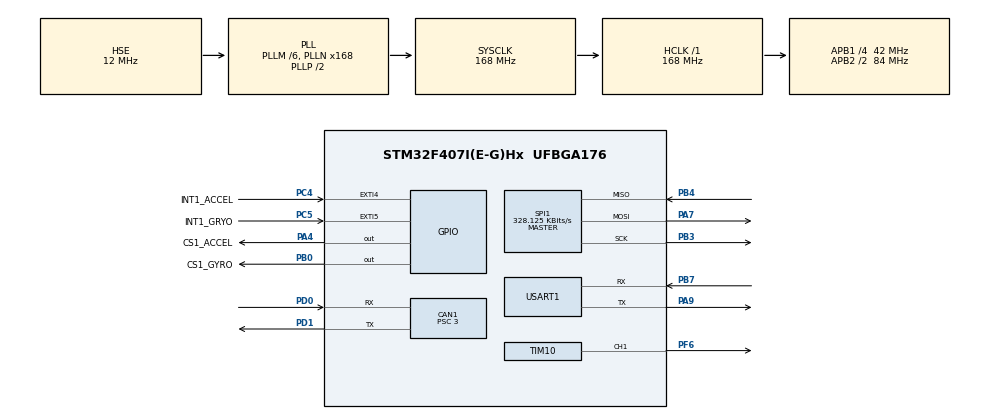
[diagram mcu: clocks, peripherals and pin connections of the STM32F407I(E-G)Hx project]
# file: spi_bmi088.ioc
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CAN1.ABOM=ENABLE
CAN1.BS1=CAN_BS1_9TQ
CAN1.BS2=CAN_BS2_4TQ
CAN1.CalculateTimeQuantum=71.42857142857143
CAN1.Prescaler=3
Dma.Request0=SPI1_RX
Dma.Request1=SPI1_TX
Dma.SPI1_RX.0.Direction=DMA_PERIPH_TO_MEMORY
Dma.SPI1_RX.0.FIFOMode=DMA_FIFOMODE_DISABLE
Dma.SPI1_RX.0.Instance=DMA2_Stream2
Dma.SPI1_RX.0.MemDataAlignment=DMA_MDATAALIGN_BYTE
Dma.SPI1_RX.0.MemInc=DMA_MINC_ENABLE
Dma.SPI1_RX.0.Mode=DMA_NORMAL
Dma.SPI1_RX.0.PeriphDataAlignment=DMA_PDATAALIGN_BYTE
Dma.SPI1_RX.0.PeriphInc=DMA_PINC_DISABLE
Dma.SPI1_RX.0.Priority=DMA_PRIORITY_VERY_HIGH
Dma.SPI1_TX.1.Direction=DMA_MEMORY_TO_PERIPH
Dma.SPI1_TX.1.FIFOMode=DMA_FIFOMODE_DISABLE
Dma.SPI1_TX.1.Instance=DMA2_Stream3
Dma.SPI1_TX.1.MemDataAlignment=DMA_MDATAALIGN_BYTE
Dma.SPI1_TX.1.MemInc=DMA_MINC_ENABLE
Dma.SPI1_TX.1.Mode=DMA_NORMAL
Dma.SPI1_TX.1.PeriphDataAlignment=DMA_PDATAALIGN_BYTE
Dma.SPI1_TX.1.PeriphInc=DMA_PINC_DISABLE
Dma.SPI1_TX.1.Priority=DMA_PRIORITY_HIGH
FREERTOS.Tasks01=defaultTask,0,128,StartDefaultTask,Default,NULL,Dynamic,NULL,NULL
Mcu.Family=STM32F4
Mcu.Name=STM32F407I(E-G)Hx
Mcu.Package=UFBGA176
NVIC.CAN1_RX0_IRQn=true\:5\:0\:false\:false\:true\:true\:true\:true\:true
NVIC.CAN1_TX_IRQn=true\:5\:0\:false\:false\:true\:true\:true\:true\:true
NVIC.DMA2_Stream2_IRQn=true\:5\:0\:true\:false\:false\:true\:false\:true\:true
NVIC.DMA2_Stream3_IRQn=true\:5\:0\:false\:false\:false\:true\:false\:true\:true
NVIC.EXTI4_IRQn=true\:5\:0\:false\:false\:true\:true\:true\:true\:true
NVIC.EXTI9_5_IRQn=true\:5\:0\:false\:false\:true\:true\:true\:true\:true
NVIC.PriorityGroup=NVIC_PRIORITYGROUP_4
NVIC.TIM6_DAC_IRQn=true\:0\:0\:false\:false\:true\:false\:false\:true\:true
NVIC.TimeBase=TIM6_DAC_IRQn
NVIC.TimeBaseIP=TIM6
NVIC.USART1_IRQn=true\:5\:0\:false\:false\:true\:true\:true\:true\:true
PA13.Mode=Serial_Wire
PA13.Signal=SYS_JTMS-SWDIO
PA14.Mode=Serial_Wire
PA14.Signal=SYS_JTCK-SWCLK
PA4.GPIO_Label=CS1_ACCEL
PA4.GPIO_PuPd=GPIO_PULLUP
PA4.GPIO_Speed=GPIO_SPEED_FREQ_HIGH
PA4.PinState=GPIO_PIN_SET
PA4.Signal=GPIO_Output
PA7.Mode=Full_Duplex_Master
PA7.Signal=SPI1_MOSI
PA9.Mode=Asynchronous
PA9.Signal=USART1_TX
PB0.GPIO_Label=CS1_GYRO
PB0.GPIO_PuPd=GPIO_PULLUP
PB0.GPIO_Speed=GPIO_SPEED_FREQ_HIGH
PB0.PinState=GPIO_PIN_SET
PB0.Signal=GPIO_Output
PB3.Mode=Full_Duplex_Master
PB3.Signal=SPI1_SCK
PB4.Mode=Full_Duplex_Master
PB4.Signal=SPI1_MISO
PB7.Mode=Asynchronous
PB7.Signal=USART1_RX
PC4.GPIO_Label=INT1_ACCEL
PC4.GPIO_ModeDefaultEXTI=GPIO_MODE_IT_FALLING
PC4.GPIO_PuPd=GPIO_PULLUP
PC4.Signal=GPXTI4
PC5.GPIO_Label=INT1_GRYO
PC5.GPIO_ModeDefaultEXTI=GPIO_MODE_IT_FALLING
PC5.GPIO_PuPd=GPIO_PULLUP
PC5.Signal=GPXTI5
PD0.Mode=Master
PD0.Signal=CAN1_RX
PD1.Mode=Master
PD1.Signal=CAN1_TX
PF6.GPIO_PuPd=GPIO_PULLUP
PF6.GPIO_Speed=GPIO_SPEED_FREQ_HIGH
PF6.Signal=S_TIM10_CH1
PH0-OSC_IN.Mode=HSE-External-Oscillator
PH0-OSC_IN.Signal=RCC_OSC_IN
PH1-OSC_OUT.Mode=HSE-External-Oscillator
PH1-OSC_OUT.Signal=RCC_OSC_OUT
ProjectManager.HeapSize=0x2000
ProjectManager.StackSize=0x2000
ProjectManager.TargetToolchain=MDK-ARM V5
RCC.48MHZClocksFreq_Value=48000000
RCC.AHBFreq_Value=168000000
RCC.APB1CLKDivider=RCC_HCLK_DIV4
RCC.APB1Freq_Value=42000000
RCC.APB1TimFreq_Value=84000000
RCC.APB2CLKDivider=RCC_HCLK_DIV2
RCC.APB2Freq_Value=84000000
RCC.APB2TimFreq_Value=168000000
RCC.CortexFreq_Value=168000000
RCC.HCLKFreq_Value=168000000
RCC.HSE_VALUE=12000000
RCC.HSI_VALUE=16000000
RCC.LSE_VALUE=32768
RCC.PLLM=6
RCC.PLLN=168
RCC.PLLQ=7
RCC.PLLSourceVirtual=RCC_PLLSOURCE_HSE
RCC.RCC_RTC_Clock_SourceVirtual=RCC_RTCCLKSOURCE_HSE_DIV30
RCC.RCC_RTC_Clock_Source_FROM_HSE=RCC_RTCCLKSOURCE_HSE_DIV30
RCC.SYSCLKFreq_VALUE=168000000
RCC.SYSCLKSource=RCC_SYSCLKSOURCE_PLLCLK
RCC.VCOOutputFreq_Value=336000000
SH.S_TIM10_CH1.0=TIM10_CH1,PWM Generation1 CH1
SPI1.BaudRatePrescaler=SPI_BAUDRATEPRESCALER_256
SPI1.CLKPhase=SPI_PHASE_2EDGE
SPI1.CLKPolarity=SPI_POLARITY_HIGH
SPI1.CalculateBaudRate=328.125 KBits/s
SPI1.Direction=SPI_DIRECTION_2LINES
SPI1.Mode=SPI_MODE_MASTER
SPI1.VirtualType=VM_MASTER
TIM10.Channel=TIM_CHANNEL_1
TIM10.Period=4999
USART1.VirtualMode=VM_ASYNC
VP_FREERTOS_VS_CMSIS_V1.Mode=CMSIS_V1
VP_SYS_VS_tim6.Mode=TIM6
VP_TIM10_VS_ClockSourceINT.Mode=Enable_Timer
board=custom

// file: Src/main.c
/* USER CODE BEGIN Header */
/**
  ******************************************************************************
  * @file           : main.c
  * @brief          : Main program body
  ******************************************************************************
  * @attention
  *
  * <h2><center>&copy; Copyright (c) 2019 STMicroelectronics.
  * All rights reserved.</center></h2>
  *
  * This software component is licensed by ST under Ultimate Liberty license
  * SLA0044, the "License"; You may not use this file except in compliance with
  * the License. You may obtain a copy of the License at:
  *                             www.st.com/SLA0044
  *
  ******************************************************************************
  */
/* USER CODE END Header */

#include "main.h"
#include "cmsis_os.h"
#include "can.h"
#include "dma.h"
#include "spi.h"
#include "tim.h"
#include "usart.h"
#include "gpio.h"

/* USER CODE BEGIN Includes */
#include "BMI088driver.h"
#include "bsp_can.h"
#include "pid.h"
/* USER CODE END Includes */

void SystemClock_Config(void);
void MX_FREERTOS_Init(void);

/* USER CODE BEGIN 0 */
//fp32 gyro[3], accel[3], temp;
uint16_t i;

//pid_struct_t motor_pid[7];
/* USER CODE END 0 */

int main(void)
{

  /* MCU Configuration--------------------------------------------------------*/

  /* Reset of all peripherals, Initializes the Flash interface and the Systick. */
  HAL_Init();

  /* Configure the system clock */
  SystemClock_Config();

  /* Initialize all configured peripherals */
  MX_GPIO_Init();
  MX_DMA_Init();
  MX_SPI1_Init();
  MX_TIM10_Init();
  MX_USART1_UART_Init();
  MX_CAN1_Init();
  /* USER CODE BEGIN 2 */
  can_user_init(&hcan1);                   // config can filter, start can

  /* USER CODE END 2 */

  /* Call init function for freertos objects (in freertos.c) */
  MX_FREERTOS_Init();

  /* Start scheduler */
  osKernelStart();

  /* We should never get here as control is now taken by the scheduler */

  /* Infinite loop */
  while (1)
  {

    /* USER CODE BEGIN 3 */
      ;
  }
  /* USER CODE END 3 */
}

void SystemClock_Config(void)
{
  RCC_OscInitTypeDef RCC_OscInitStruct = {0};
  RCC_ClkInitTypeDef RCC_ClkInitStruct = {0};

  /** Configure the main internal regulator output voltage
  */
  __HAL_RCC_PWR_CLK_ENABLE();
  __HAL_PWR_VOLTAGESCALING_CONFIG(PWR_REGULATOR_VOLTAGE_SCALE1);
  /** Initializes the CPU, AHB and APB busses clocks
  */
  RCC_OscInitStruct.OscillatorType = RCC_OSCILLATORTYPE_HSE;
  RCC_OscInitStruct.HSEState = RCC_HSE_ON;
  RCC_OscInitStruct.PLL.PLLState = RCC_PLL_ON;
  RCC_OscInitStruct.PLL.PLLSource = RCC_PLLSOURCE_HSE;
  RCC_OscInitStruct.PLL.PLLM = 6;
  RCC_OscInitStruct.PLL.PLLN = 168;
  RCC_OscInitStruct.PLL.PLLP = RCC_PLLP_DIV2;
  RCC_OscInitStruct.PLL.PLLQ = 7;
  if (HAL_RCC_OscConfig(&RCC_OscInitStruct) != HAL_OK)
  {
    Error_Handler();
  }
  /** Initializes the CPU, AHB and APB busses clocks
  */
  RCC_ClkInitStruct.ClockType = RCC_CLOCKTYPE_HCLK|RCC_CLOCKTYPE_SYSCLK
                              |RCC_CLOCKTYPE_PCLK1|RCC_CLOCKTYPE_PCLK2;
  RCC_ClkInitStruct.SYSCLKSource = RCC_SYSCLKSOURCE_PLLCLK;
  RCC_ClkInitStruct.AHBCLKDivider = RCC_SYSCLK_DIV1;
  RCC_ClkInitStruct.APB1CLKDivider = RCC_HCLK_DIV4;
  RCC_ClkInitStruct.APB2CLKDivider = RCC_HCLK_DIV2;

  if (HAL_RCC_ClockConfig(&RCC_ClkInitStruct, FLASH_LATENCY_5) != HAL_OK)
  {
    Error_Handler();
  }
}

void HAL_TIM_PeriodElapsedCallback(TIM_HandleTypeDef *htim)
{
  if (htim->Instance == TIM6) {
    HAL_IncTick();
  }
}

void Error_Handler(void)
{
}

/************************ (C) COPYRIGHT STMicroelectronics *****END OF FILE****/

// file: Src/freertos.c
/* USER CODE BEGIN Header */
/**
  ******************************************************************************
  * File Name          : freertos.c
  * Description        : Code for freertos applications
  ******************************************************************************
  * @attention
  *
  * <h2><center>&copy; Copyright (c) 2024 STMicroelectronics.
  * All rights reserved.</center></h2>
  *
  * This software component is licensed by ST under Ultimate Liberty license
  * SLA0044, the "License"; You may not use this file except in compliance with
  * the License. You may obtain a copy of the License at:
  *                             www.st.com/SLA0044
  *
  ******************************************************************************
  */
/* USER CODE END Header */

#include "FreeRTOS.h"
#include "task.h"
#include "main.h"
#include "cmsis_os.h"

/* USER CODE BEGIN Includes */
#include "BMI088driver.h"
#include "bsp_can.h"
#include "pid.h"
#include "INS_task.h"

fp32 gyro[3], accel[3], temp;
extern moto_info_t motor_info[MOTOR_MAX_NUM];
extern fp32 INS_angle[3];

pid_struct_t motor_pid[7];
float target_angle=0;
uint16_t kp,ki,kd;

/* USER CODE END Includes */

/* USER CODE BEGIN Variables */
osThreadId GM6020ControlHandle;
osThreadId IMUHandle;

/* USER CODE END Variables */
osThreadId defaultTaskHandle;

/* USER CODE BEGIN FunctionPrototypes */
void GM6020Control(void const * argument);
void IMU(void const * argument);

/* USER CODE END FunctionPrototypes */

void StartDefaultTask(void const * argument);

void MX_FREERTOS_Init(void); /* (MISRA C 2004 rule 8.1) */

/* GetIdleTaskMemory prototype (linked to static allocation support) */
void vApplicationGetIdleTaskMemory( StaticTask_t **ppxIdleTaskTCBBuffer, StackType_t **ppxIdleTaskStackBuffer, uint32_t *pulIdleTaskStackSize );

/* USER CODE BEGIN GET_IDLE_TASK_MEMORY */
static StaticTask_t xIdleTaskTCBBuffer;
static StackType_t xIdleStack[configMINIMAL_STACK_SIZE];

void vApplicationGetIdleTaskMemory( StaticTask_t **ppxIdleTaskTCBBuffer, StackType_t **ppxIdleTaskStackBuffer, uint32_t *pulIdleTaskStackSize )
{
  *ppxIdleTaskTCBBuffer = &xIdleTaskTCBBuffer;
  *ppxIdleTaskStackBuffer = &xIdleStack[0];
  *pulIdleTaskStackSize = configMINIMAL_STACK_SIZE;
  /* place for user code */
}
/* USER CODE END GET_IDLE_TASK_MEMORY */

void MX_FREERTOS_Init(void) {

  /* Create the thread(s) */
  /* definition and creation of defaultTask */
  osThreadDef(defaultTask, StartDefaultTask, osPriorityNormal, 0, 128);
  defaultTaskHandle = osThreadCreate(osThread(defaultTask), NULL);

  /* USER CODE BEGIN RTOS_THREADS */
  /* add threads, ... */
  osThreadDef(GM6020, GM6020Control, osPriorityHigh, 0, 512);
  GM6020ControlHandle = osThreadCreate(osThread(GM6020), NULL);

  osThreadDef(IMU_BMI088, IMU, osPriorityHigh, 0, 512);
  IMUHandle = osThreadCreate(osThread(IMU_BMI088), NULL);
  /* USER CODE END RTOS_THREADS */

}

void StartDefaultTask(void const * argument)
{

  for(;;)
  {
    osDelay(1);
  }
}

/* USER CODE BEGIN Application */
void GM6020Control(void const * argument)
{
//    pid_struct_t motor_pid[7];
    kp=5;
    ki=0;
    kd=0;
    for (uint8_t i = 0; i < 7; i++)
   {
    pid_init(&motor_pid[i], kp, ki, kd, 9000, 9000); //init pid parameter, kp=25, ki=0, kd=1, output limit = 30000
   }
    while(1)
    {
        target_angle=INS_angle[2]*8193/180;
        for(uint8_t i = 0; i < 7; i++)
        {
          motor_info[i].set_voltage =pid_calc(&motor_pid[i], target_angle, motor_info[i].rotor_angle);
        }
        set_motor_voltage(0,
                          motor_info[0].set_voltage,
                          motor_info[1].set_voltage,
                          motor_info[2].set_voltage,
                          motor_info[3].set_voltage);
        set_motor_voltage(1,
                          motor_info[4].set_voltage,
                          motor_info[5].set_voltage,
                          motor_info[6].set_voltage,
                          0);
         osDelay(50);
    }
}

void IMU(void const * argument)
{

    INS_task_Init();
    while(1)
    {
      INS_task();
      osDelay(2);
    }

}

/* USER CODE END Application */

/************************ (C) COPYRIGHT STMicroelectronics *****END OF FILE****/
